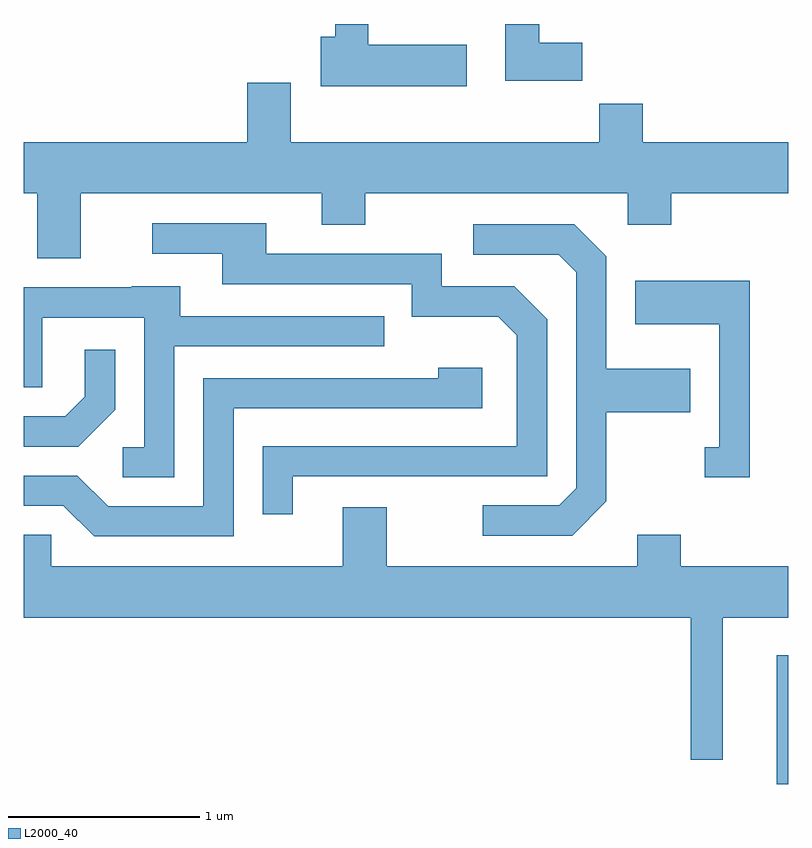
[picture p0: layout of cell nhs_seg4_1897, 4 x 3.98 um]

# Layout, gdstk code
import gdstk
lib = gdstk.Library(unit=1e-6, precision=1e-09)
def R(c, l, rs):  # rectangles x0, y0, x1, y1
    for r in rs: c.add(gdstk.rectangle(r[:2], r[2:], *l))
def P(c, l, *ps):  # polygons
    for p in ps: c.add(gdstk.Polygon(p, *l))
L2000_40 = (2000, 40)

nhs_seg4_1897 = lib.new_cell('nhs_seg4_1897')
R(nhs_seg4_1897, L2000_40, [(243.551,1376.006,243.611,1376.679)])
P(nhs_seg4_1897, L2000_40, [(242.534,1379.884),(242.309,1379.884),(242.309,1379.982),(242.131,1379.982),(242.131,1379.686),(242.534,1379.686)],
  [(241.929,1379.874),(241.414,1379.874),(241.414,1379.982),(241.241,1379.982),(241.241,1379.914),(241.166,1379.914),(241.166,1379.656),(241.929,1379.656)],
  [(239.909,1379.096),(241.171,1379.096),(241.171,1378.931),(241.399,1378.931),(241.399,1379.096),(242.771,1379.096),(242.771,1378.931),(242.999,1378.931),(242.999,1379.096),(243.611,1379.096),(243.611,1379.364),(242.849,1379.364),(242.849,1379.564),(242.621,1379.564),(242.621,1379.364),(241.009,1379.364),(241.009,1379.674),(240.781,1379.674),(240.781,1379.364),(239.611,1379.364),(239.611,1379.096),(239.681,1379.096),(239.681,1378.756),(239.909,1378.756)],
  [(241.019,1377.616),(242.349,1377.616),(242.349,1378.437),(242.177,1378.609),(241.799,1378.609),(241.799,1378.779),(240.879,1378.779),(240.879,1378.939),(240.283,1378.939),(240.283,1378.781),(240.651,1378.781),(240.651,1378.621),(241.641,1378.621),(241.641,1378.451),(242.094,1378.451),(242.191,1378.354),(242.191,1377.774),(240.861,1377.774),(240.861,1377.418),(241.019,1377.418)],
  [(242.659,1377.484),(242.659,1377.951),(243.099,1377.951),(243.099,1378.179),(242.659,1378.179),(242.659,1378.767),(242.492,1378.934),(241.963,1378.934),(241.963,1378.776),(242.409,1378.776),(242.501,1378.684),(242.501,1377.552),(242.414,1377.464),(242.013,1377.464),(242.013,1377.306),(242.482,1377.306)],
  [(243.409,1378.639),(242.811,1378.639),(242.811,1378.411),(243.251,1378.411),(243.251,1377.769),(243.173,1377.769),(243.173,1377.611),(243.409,1377.611)],
  [(240.399,1378.296),(241.498,1378.296),(241.498,1378.454),(240.429,1378.454),(240.429,1378.609),(240.175,1378.609),(240.175,1378.604),(239.611,1378.604),(239.611,1378.081),(239.709,1378.081),(239.709,1378.446),(240.241,1378.446),(240.241,1377.769),(240.128,1377.769),(240.128,1377.611),(240.399,1377.611)],
  [(240.089,1377.964),(240.089,1378.278),(239.931,1378.278),(239.931,1378.032),(239.829,1377.929),(239.611,1377.929),(239.611,1377.771),(239.897,1377.771)],
  [(240.709,1377.971),(242.009,1377.971),(242.009,1378.184),(241.781,1378.184),(241.781,1378.129),(240.551,1378.129),(240.551,1377.459),(240.052,1377.459),(239.892,1377.619),(239.611,1377.619),(239.611,1377.461),(239.819,1377.461),(239.979,1377.301),(240.709,1377.301)],
  [(243.269,1376.876),(243.611,1376.876),(243.611,1377.144),(243.049,1377.144),(243.049,1377.309),(242.821,1377.309),(242.821,1377.144),(241.509,1377.144),(241.509,1377.454),(241.281,1377.454),(241.281,1377.144),(239.754,1377.144),(239.754,1377.309),(239.611,1377.309),(239.611,1376.876),(243.101,1376.876),(243.101,1376.133),(243.269,1376.133)])

lib.write_gds('nhs_seg4_1897.gds')
